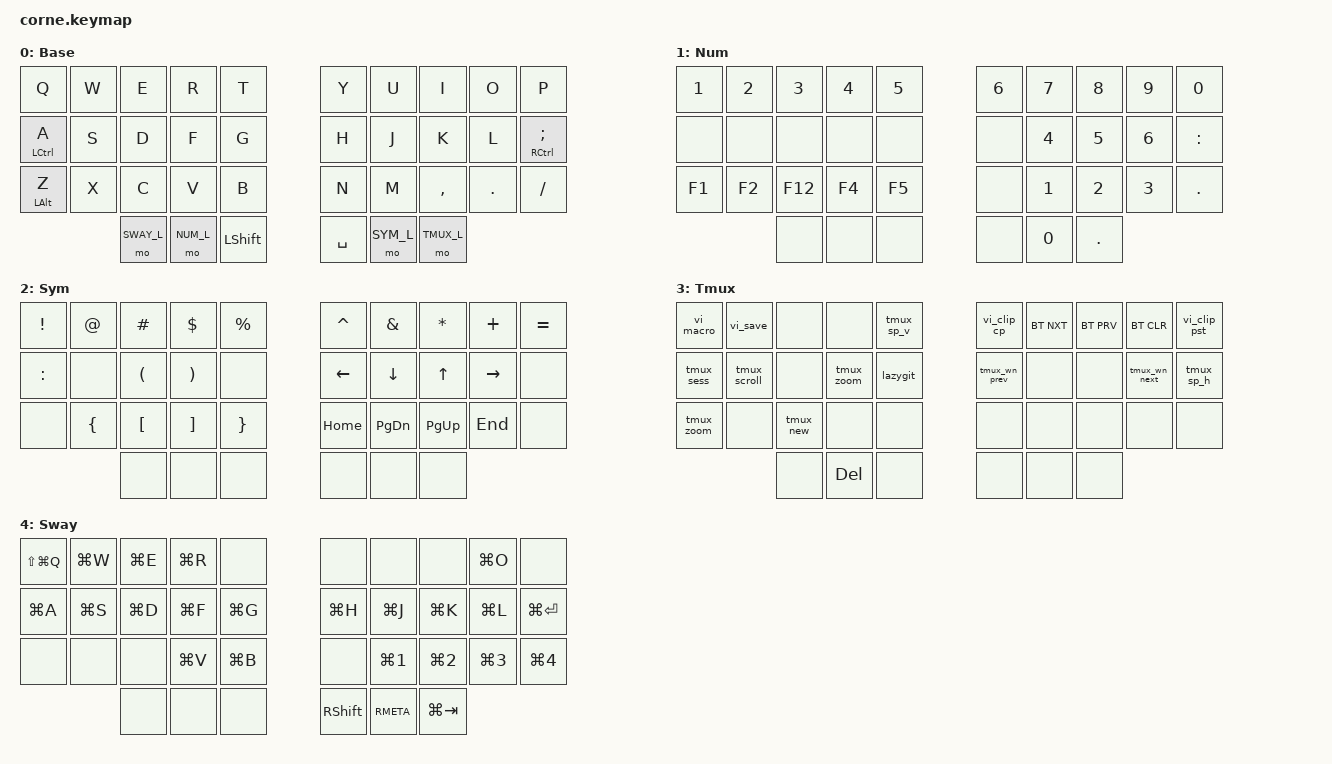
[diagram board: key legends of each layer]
/*
 * Copyright (c) 2020 The ZMK Contributors
 *
 * SPDX-License-Identifier: MIT
 */

#include <behaviors.dtsi>
#include <dt-bindings/zmk/keys.h>
#include <dt-bindings/zmk/bt.h>

#define DEF_L 0
#define NUM_L 1
#define SYM_L 2
#define TMUX_L 3
#define SWAY_L 4

// Using layer taps on thumbs, having quick tap as well helps w/ repeating space/backspace
&lt {
    quick_tap_ms = <200>;
};

/ {
    chosen {
      zmk,matrix_transform = &five_column_transform;
    };

    behaviors {
        as: auto_shift {
            compatible = "zmk,behavior-hold-tap";
            #binding-cells = <2>;
            tapping_term_ms = <200>;
            quick_tap_ms = <0>;
            flavor = "tap-preferred";
            bindings = <&kp>, <&kp>;
        };
    };

    combos {
        compatible = "zmk,combos";
        combo_backtick {
            timeout-ms = <50>;
            key-positions = <0 1>;
            bindings = <&kp GRAVE>;
        };
        combo_esc {
            timeout-ms = <50>;
            key-positions = <1 11>;
            bindings = <&kp ESC>;
        };
        combo_backspace {
            timeout-ms = <50>;
            key-positions = <11 12>;
            bindings = <&kp BSPC>;
        };
        combo_tab {
            timeout-ms = <50>;
            key-positions = <12 13>;
            bindings = <&kp TAB>;
        };
        combo_enter {
            timeout-ms = <50>;
            key-positions = <22 23>;
            bindings = <&kp ENTER>;
        };
        combo_minus {
            timeout-ms = <50>;
            key-positions = <7 8>;
            bindings = <&kp MINUS>;
        };
        combo_backslash {
            timeout-ms = <50>;
            key-positions = <8 9>;
            bindings = <&kp BACKSLASH>;
        };
        combo_less_than {
            timeout-ms = <50>;
            key-positions = <15 16>;
            bindings = <&kp LT>;
        };
        combo_greater_than {
            timeout-ms = <50>;
            key-positions = <17 18>;
            bindings = <&kp GT>;
        };
        combo_colon {
            timeout-ms = <50>;
            key-positions = <16 17>;
            bindings = <&kp COLON>;
        };
        combo_quote {
            timeout-ms = <50>;
            key-positions = <25 26>;
            bindings = <&kp APOSTROPHE>;
        };
        combo_underscore {
            timeout-ms = <50>;
            key-positions = <26 27>;
            bindings = <&kp UNDER>;
        };
    };

    macros {
        tmux_new: tmux_new {
            label = "ZM_tmux_new";
            compatible = "zmk,behavior-macro";
            #binding-cells = <0>;
            bindings
                = <&macro_tap &kp LC(B)>
                , <&macro_tap &kp C>
                ;
        };
        tmux_zoom: tmux_zoom {
            label = "ZM_tmux_zoom";
            compatible = "zmk,behavior-macro";
            #binding-cells = <0>;
            bindings
                = <&macro_tap &kp LC(B)>
                , <&macro_tap &kp Z>
                ;
        };
        tmux_sess: tmux_sess {
            label = "ZM_tmux_sess";
            compatible = "zmk,behavior-macro";
            #binding-cells = <0>;
            bindings
                = <&macro_tap &kp LC(B)>
                , <&macro_tap &kp S>
                ;
        };
        tmux_scroll: tmux_scroll {
            label = "ZM_tmux_scroll";
            compatible = "zmk,behavior-macro";
            #binding-cells = <0>;
            bindings
                = <&macro_tap &kp LC(B)>
                , <&macro_tap &kp LEFT_BRACKET>
                ;
        };
        tmux_wn_next: tmux_wn_next {
            label = "ZM_tmux_wn_next";
            compatible = "zmk,behavior-macro";
            #binding-cells = <0>;
            bindings
                = <&macro_tap &kp LC(B)>
                , <&macro_tap &kp N>
                ;
        };
        tmux_wn_prev: tmux_wn_prev {
            label = "ZM_tmux_wn_prev";
            compatible = "zmk,behavior-macro";
            #binding-cells = <0>;
            bindings
                = <&macro_tap &kp LC(B)>
                , <&macro_tap &kp P>
                ;
        };
        tmux_sp_v: tmux_sp_v {
            label = "ZM_tmux_sp_v";
            compatible = "zmk,behavior-macro";
            #binding-cells = <0>;
            bindings
                = <&macro_tap &kp LC(B)>
                , <&macro_tap &kp PERCENT>
                ;
        };
        tmux_sp_h: tmux_sp_h {
            label = "ZM_tmux_sp_h";
            compatible = "zmk,behavior-macro";
            #binding-cells = <0>;
            bindings
                = <&macro_tap &kp LC(B)>
                , <&macro_tap &kp DOUBLE_QUOTES>
                ;
        };
        vi_clip_cp: vi_clip_cp {
            label = "ZM_vi_clip_cp";
            compatible = "zmk,behavior-macro";
            #binding-cells = <0>;
            bindings
                = <&macro_tap &kp DOUBLE_QUOTES>
                , <&macro_tap &kp PLUS>
                , <&macro_tap &kp Y>
                ;
        };
        vi_clip_pst: vi_clip_pst {
            label = "ZM_vi_clip_pst";
            compatible = "zmk,behavior-macro";
            #binding-cells = <0>;
            bindings
                = <&macro_tap &kp DOUBLE_QUOTES>
                , <&macro_tap &kp PLUS>
                , <&macro_tap &kp P>
                ;
        };
        vi_macro: vi_macro {
            label = "ZM_vi_macro";
            compatible = "zmk,behavior-macro";
            #binding-cells = <0>;
            bindings
                = <&macro_tap &kp AT>
                , <&macro_tap &kp Q>
                ;
        };
        vi_save: vi_save {
            label = "ZM_vi_save";
            compatible = "zmk,behavior-macro";
            #binding-cells = <0>;
            bindings
                = <&macro_tap &kp ESC>
                , <&macro_tap &kp COLON &kp W &kp ENTER>
                ;
        };
        lazygit: lazygit {
            label = "ZM_lazygit";
            compatible = "zmk,behavior-macro";
            #binding-cells = <0>;
            bindings
                = <&macro_tap &kp LC(B)>
                , <&macro_tap &kp G>
                ;
        };
        mon_sel: mon_sel {
            label = "ZM_mon_sel";
            compatible = "zmk,behavior-macro";
            #binding-cells = <0>;
            bindings
                = <&macro_tap &kp LG(LC(LS(LA(A))))>
                ;
        };
        terminal: terminal {
            label = "ZM_terminal";
            compatible = "zmk,behavior-macro";
            #binding-cells = <0>;
            bindings
                = <&macro_tap &kp LG(LC(LS(LA(T))))>
                ;
        };
        browser: browser {
            label = "ZM_browser";
            compatible = "zmk,behavior-macro";
            #binding-cells = <0>;
            bindings
                = <&macro_tap &kp LG(LC(LS(LA(B))))>
                ;
        };
        vscode: vscode {
            label = "ZM_vscode";
            compatible = "zmk,behavior-macro";
            #binding-cells = <0>;
            bindings
                = <&macro_tap &kp LG(LC(LS(LA(V))))>
                ;
        };
        discord: discord {
            label = "ZM_discord";
            compatible = "zmk,behavior-macro";
            #binding-cells = <0>;
            bindings
                = <&macro_tap &kp LG(LC(LS(LA(D))))>
                ;
        };
    };

    keymap {
        compatible = "zmk,keymap";

        default_layer {
            display-name = "Base";
            bindings = <
                &kp Q      &kp W      &kp E       &kp R           &kp T        &kp Y            &kp U          &kp I       &kp O         &kp P
                &as LCTL A &kp S      &kp D       &kp F           &kp G        &kp H            &kp J          &kp K       &kp L         &as RCTL SEMI
                &as LALT Z &kp X      &kp C       &kp V           &kp B        &kp N            &kp M          &kp COMMA   &kp DOT       &kp SLASH
                           &mo SWAY_L &mo NUM_L   &kp LSHIFT                                    &kp SPACE      &mo SYM_L   &mo TMUX_L
            >;
        };

        num_layer {
            display-name = "Num";
            bindings = <
                &kp N1     &kp N2     &kp N3      &kp N4          &kp N5        &kp N6          &kp N7         &kp N8      &kp N9        &kp N0
                &none      &none      &none       &none           &none         &none           &kp N4         &kp N5      &kp N6        &kp COLON
                &kp F1     &kp F2     &kp F12     &kp F4          &kp F5        &none           &kp N1         &kp N2      &kp N3        &kp DOT
                           &none      &none       &none                                         &none          &kp N0      &kp DOT
            >;
        };

        sym_layer {
            display-name = "Sym";
            bindings = <
                &kp EXCL   &kp AT     &kp HASH    &kp DLLR        &kp PRCNT     &kp CARET       &kp AMPS       &kp ASTRK   &kp PLUS      &kp EQUAL
                &kp COLON  &none      &kp LPAR    &kp RPAR        &none         &kp LEFT        &kp DOWN       &kp UP      &kp RIGHT     &none
                &none      &kp LBRC   &kp LBKT    &kp RBKT        &kp RBRC      &kp HOME        &kp PG_DN      &kp PG_UP   &kp END       &none
                           &none      &none       &none                                         &none          &none       &none
            >;
        };

        tmux_layer {
            display-name = "Tmux";
            bindings = <
                &vi_macro  &vi_save      &none       &none        &tmux_sp_v    &vi_clip_cp     &bt BT_NXT     &bt BT_PRV  &bt BT_CLR    &vi_clip_pst
                &tmux_sess &tmux_scroll  &none       &tmux_zoom   &lazygit      &tmux_wn_prev   &none          &none       &tmux_wn_next &tmux_sp_h
                &tmux_zoom &none         &tmux_new   &none        &none         &none           &none          &none       &none         &none
                           &none         &kp DEL     &none                                      &none          &none       &none
            >;
        };

        sway_layer {
            display-name = "Sway";
            bindings = <
                &kp LS(LG(Q)) &kp LG(W)     &kp LG(E)   &kp LG(R)    &none         &none           &none          &none       &kp LG(O)     &none
                &kp LG(A)     &kp LG(S)     &kp LG(D)   &kp LG(F)    &kp LG(G)     &kp LG(H)       &kp LG(J)      &kp LG(K)   &kp LG(L)     &kp LG(ENTER)
                &none         &none         &none       &kp LG(V)    &kp LG(B)     &none           &kp LG(N1)     &kp LG(N2)  &kp LG(N3)    &kp LG(N4)
                              &none         &none       &none                                      &kp RSHIFT     &kp RMETA   &kp LG(TAB)
            >;
        };
    };
};
